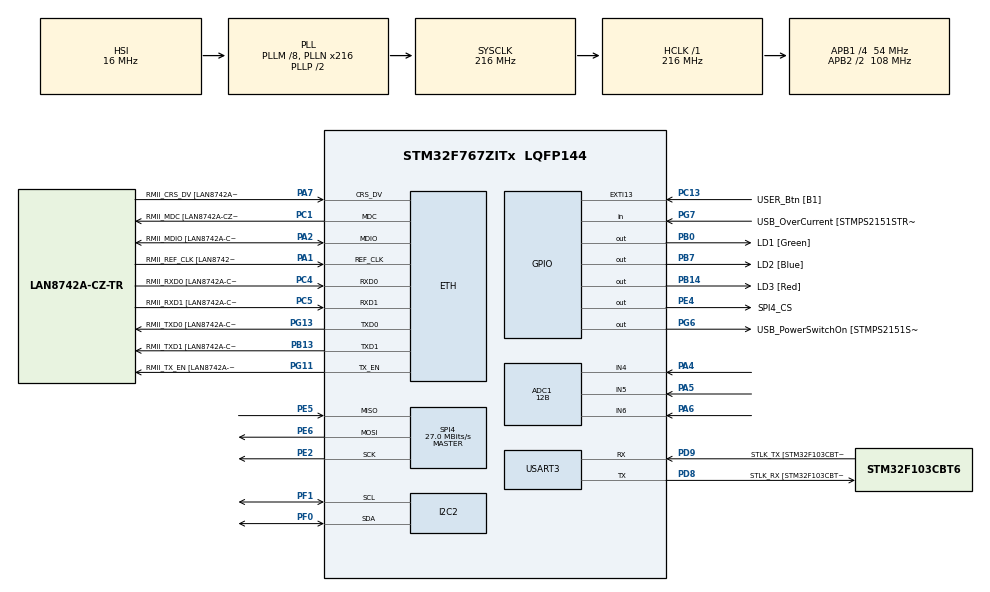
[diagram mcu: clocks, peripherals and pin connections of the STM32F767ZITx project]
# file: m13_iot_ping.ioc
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ADC1.Channel-0\#ChannelRegularConversion=ADC_CHANNEL_4
ADC1.Channel-1\#ChannelRegularConversion=ADC_CHANNEL_5
ADC1.Channel-2\#ChannelRegularConversion=ADC_CHANNEL_6
ADC1.ClockPrescaler=ADC_CLOCK_SYNC_PCLK_DIV6
ADC1.DMAContinuousRequests=ENABLE
ADC1.EOCSelection=ADC_EOC_SEQ_CONV
ADC1.ExternalTrigConv=ADC_EXTERNALTRIGCONV_T2_TRGO
ADC1.NbrOfConversion=3
ADC1.NbrOfConversionFlag=1
ADC1.Rank-0\#ChannelRegularConversion=1
ADC1.Rank-1\#ChannelRegularConversion=2
ADC1.Rank-2\#ChannelRegularConversion=3
ADC1.Resolution=ADC_RESOLUTION_12B
ADC1.SamplingTime-0\#ChannelRegularConversion=ADC_SAMPLETIME_3CYCLES
ADC1.SamplingTime-1\#ChannelRegularConversion=ADC_SAMPLETIME_3CYCLES
ADC1.SamplingTime-2\#ChannelRegularConversion=ADC_SAMPLETIME_3CYCLES
ADC1.ScanConvMode=ADC_SCAN_ENABLE
ADC1.master=1
CORTEX_M7.CPU_DCache=Disabled
CORTEX_M7.CPU_ICache=Disabled
CORTEX_M7.Enable-Cortex_Memory_Protection_Unit_Region0_Settings=__NULL
CORTEX_M7.Enable-Cortex_Memory_Protection_Unit_Region1_Settings=__NULL
CORTEX_M7.MPU_Control=__NULL
CORTEX_M7.PREFETCH_ENABLE=0
Dma.ADC1.0.Direction=DMA_PERIPH_TO_MEMORY
Dma.ADC1.0.FIFOMode=DMA_FIFOMODE_DISABLE
Dma.ADC1.0.Instance=DMA2_Stream0
Dma.ADC1.0.MemDataAlignment=DMA_MDATAALIGN_HALFWORD
Dma.ADC1.0.MemInc=DMA_MINC_ENABLE
Dma.ADC1.0.Mode=DMA_CIRCULAR
Dma.ADC1.0.PeriphDataAlignment=DMA_PDATAALIGN_HALFWORD
Dma.ADC1.0.PeriphInc=DMA_PINC_DISABLE
Dma.ADC1.0.Priority=DMA_PRIORITY_MEDIUM
Dma.Request0=ADC1
ETH.MACAddr=00\:80\:E1\:00\:00\:85
ETH.MediaInterface=HAL_ETH_RMII_MODE
FREERTOS.BinarySemaphores01=AdcEndOfConversion,Dynamic,NULL,Depleted;NewValToProcess,Dynamic,NULL,Available
FREERTOS.Mutexes01=uartMutex,Dynamic,NULL,Available;SPI4Mutex,Dynamic,NULL,Available;I2C2Mutex,Dynamic,NULL,Available
FREERTOS.Queues01=messageQueue,512,uint32_t,0,Dynamic,NULL,NULL
FREERTOS.Tasks01=defaultTask,-3,1024,StartDefaultTask,Default,NULL,Dynamic,NULL,NULL;logMessageTask,0,2048,LogMessageTask,Default,NULL,Dynamic,NULL,NULL;TCPClientTask,0,2048,TCP_ClientTask,Default,NULL,Dynamic,NULL,NULL;TCPServerTask,0,1024,TCP_ServerTask,Default,NULL,Dynamic,NULL,NULL;heartBeatTask,-1,1024,StartHeartBeatTask,Default,NULL,Dynamic,NULL,NULL;AccelerometerTask,0,2048,vAccelerometerTask,Default,NULL,Dynamic,NULL,NULL;PublishtoBroadcastTask,1,4096,PublishToBroadcastTask,Default,NULL,Dynamic,NULL,NULL;UDPServerTask,0,2048,UDP_ServerTask,Default,NULL,Dynamic,NULL,NULL;MainTask,0,1024,vMainTask,Default,NULL,Dynamic,NULL,NULL
FREERTOS.configMAX_TASK_NAME_LEN=32
FREERTOS.configMINIMAL_STACK_SIZE=1024
FREERTOS.configTOTAL_HEAP_SIZE=380000
FREERTOS.configUSE_NEWLIB_REENTRANT=1
FREERTOS.configUSE_TIMERS=0
I2C2.Analog_Filter=I2C_ANALOGFILTER_ENABLE
I2C2.Timing=0x20404768
LWIP.BSP.number=1
LWIP.GATEWAY_ADDRESS=192.168.001.001
LWIP.IP_ADDRESS=192.168.001.185
LWIP.IP_FORWARD_ALLOW_TX_ON_RX_NETIF=1
LWIP.IP_SOF_BROADCAST=1
LWIP.IP_SOF_BROADCAST_RECV=0
LWIP.LWIP_BROADCAST_PING=1
LWIP.LWIP_DHCP=0
LWIP.LWIP_DNS=1
LWIP.LWIP_ICMP=1
LWIP.LWIP_RAW=0
LWIP.LWIP_SINGLE_NETIF=0
LWIP.LWIP_SO_RCVTIMEO=1
LWIP.LWIP_SO_SNDTIMEO=0
LWIP.LWIP_TCPIP_CORE_LOCKING=0
LWIP.MEMP_NUM_TCP_PCB=8
LWIP.MEMP_NUM_UDP_PCB=8
LWIP.MEM_SIZE=49152
LWIP.NETMASK_ADDRESS=255.255.255.000
LWIP.Version=v2.1.2_Cube
LWIP0.BSP.STBoard=false
LWIP0.BSP.api=BSP_COMPONENT_DRIVER
LWIP0.BSP.component=LAN8742
LWIP0.BSP.instance=LAN8742
LWIP0.BSP.name=Driver_PHY
LWIP0.BSP.semaphore=S_LAN8742
LWIP0.BSP.solution=LAN8742
Mcu.Family=STM32F7
Mcu.Name=STM32F767ZITx
Mcu.Package=LQFP144
NVIC.ADC_IRQn=true\:5\:0\:false\:false\:true\:true\:true\:true\:true
NVIC.DMA2_Stream0_IRQn=true\:5\:0\:false\:false\:true\:true\:false\:true\:true
NVIC.ETH_IRQn=true\:5\:0\:false\:false\:true\:true\:false\:true\:true
NVIC.PriorityGroup=NVIC_PRIORITYGROUP_4
NVIC.TIM1_UP_TIM10_IRQn=true\:15\:0\:false\:false\:true\:false\:false\:true\:true
NVIC.TimeBase=TIM1_UP_TIM10_IRQn
NVIC.TimeBaseIP=TIM1
PA1.GPIO_Label=RMII_REF_CLK [LAN8742A-CZ-TR_REFCLK0]
PA1.Mode=RMII
PA1.Signal=ETH_REF_CLK
PA10.GPIO_Label=USB_ID
PA10.Signal=USB_OTG_FS_ID
PA11.GPIO_Label=USB_DM
PA11.Signal=USB_OTG_FS_DM
PA12.GPIO_Label=USB_DP
PA12.Signal=USB_OTG_FS_DP
PA13.GPIO_Label=TMS
PA13.Signal=SYS_JTMS-SWDIO
PA14.GPIO_Label=TCK
PA14.Signal=SYS_JTCK-SWCLK
PA2.GPIO_Label=RMII_MDIO [LAN8742A-CZ-TR_MDIO]
PA2.Mode=RMII
PA2.Signal=ETH_MDIO
PA4.Signal=ADCx_IN4
PA5.Signal=ADCx_IN5
PA6.Signal=ADCx_IN6
PA7.GPIO_Label=RMII_CRS_DV [LAN8742A-CZ-TR_CRS_DV]
PA7.Mode=RMII
PA7.Signal=ETH_CRS_DV
PA8.GPIO_Label=USB_SOF [TP1]
PA8.Signal=USB_OTG_FS_SOF
PA9.GPIO_Label=USB_VBUS
PA9.Signal=USB_OTG_FS_VBUS
PB0.GPIO_Label=LD1 [Green]
PB0.Signal=GPIO_Output
PB13.GPIO_Label=RMII_TXD1 [LAN8742A-CZ-TR_TXD1]
PB13.Mode=RMII
PB13.Signal=ETH_TXD1
PB14.GPIO_Label=LD3 [Red]
PB14.Signal=GPIO_Output
PB3.GPIO_Label=SW0
PB3.Signal=SYS_JTDO-SWO
PB7.GPIO_Label=LD2 [Blue]
PB7.Signal=GPIO_Output
PC1.GPIO_Label=RMII_MDC [LAN8742A-CZ-TR_MDC]
PC1.Mode=RMII
PC1.Signal=ETH_MDC
PC13.GPIO_Label=USER_Btn [B1]
PC13.Signal=GPXTI13
PC14/OSC32_IN.Signal=RCC_OSC32_IN
PC15/OSC32_OUT.Signal=RCC_OSC32_OUT
PC4.GPIO_Label=RMII_RXD0 [LAN8742A-CZ-TR_RXD0]
PC4.Mode=RMII
PC4.Signal=ETH_RXD0
PC5.GPIO_Label=RMII_RXD1 [LAN8742A-CZ-TR_RXD1]
PC5.Mode=RMII
PC5.Signal=ETH_RXD1
PD8.GPIO_Label=STLK_RX [STM32F103CBT6_PA3]
PD8.Mode=Asynchronous
PD8.Signal=USART3_TX
PD9.GPIO_Label=STLK_TX [STM32F103CBT6_PA2]
PD9.Mode=Asynchronous
PD9.Signal=USART3_RX
PE2.Mode=Full_Duplex_Master
PE2.Signal=SPI4_SCK
PE4.GPIO_Label=SPI4_CS
PE4.Signal=GPIO_Output
PE5.Mode=Full_Duplex_Master
PE5.Signal=SPI4_MISO
PE6.Mode=Full_Duplex_Master
PE6.Signal=SPI4_MOSI
PF0.Mode=I2C
PF0.Signal=I2C2_SDA
PF1.Mode=I2C
PF1.Signal=I2C2_SCL
PG11.GPIO_Label=RMII_TX_EN [LAN8742A-CZ-TR_TXEN]
PG11.Mode=RMII
PG11.Signal=ETH_TX_EN
PG13.GPIO_Label=RMII_TXD0 [LAN8742A-CZ-TR_TXD0]
PG13.Mode=RMII
PG13.Signal=ETH_TXD0
PG6.GPIO_Label=USB_PowerSwitchOn [STMPS2151STR_EN]
PG6.Signal=GPIO_Output
PG7.GPIO_Label=USB_OverCurrent [STMPS2151STR_FAULT]
PG7.Signal=GPIO_Input
PH0/OSC_IN.GPIO_Label=MCO [STM32F103CBT6_PA8]
PH0/OSC_IN.Mode=HSE-External-Oscillator
PH0/OSC_IN.Signal=RCC_OSC_IN
PH1/OSC_OUT.Mode=HSE-External-Oscillator
PH1/OSC_OUT.Signal=RCC_OSC_OUT
ProjectManager.HeapSize=0x200
ProjectManager.StackSize=0x400
ProjectManager.TargetToolchain=STM32CubeIDE
RCC.48MHZClocksFreq_Value=24000000
RCC.AHBFreq_Value=216000000
RCC.APB1CLKDivider=RCC_HCLK_DIV4
RCC.APB1Freq_Value=54000000
RCC.APB1TimFreq_Value=108000000
RCC.APB2CLKDivider=RCC_HCLK_DIV2
RCC.APB2Freq_Value=108000000
RCC.APB2TimFreq_Value=216000000
RCC.CortexFreq_Value=216000000
RCC.HCLKFreq_Value=216000000
RCC.HSE_VALUE=25000000
RCC.HSI_VALUE=16000000
RCC.LSE_VALUE=32768
RCC.PLLM=8
RCC.PLLMUL=RCC_PLL_MUL9
RCC.PLLN=216
RCC.PRESCALERUSB=RCC_USBCLKSOURCE_PLL_DIV1_5
RCC.SYSCLKFreq_VALUE=216000000
RCC.SYSCLKSource=RCC_SYSCLKSOURCE_PLLCLK
RCC.SYSCLKSourceVirtual=RCC_SYSCLKSOURCE_PLLCLK
RCC.USART3CLockSelection=RCC_USART3CLKSOURCE_HSI
RCC.USBFreq_Value=216000000
RCC.VCOOutputFreq_Value=432000000
SH.ADCx_IN4.0=ADC1_IN4,IN4
SH.ADCx_IN5.0=ADC1_IN5,IN5
SH.ADCx_IN6.0=ADC1_IN6,IN6
SPI4.BaudRatePrescaler=SPI_BAUDRATEPRESCALER_4
SPI4.CalculateBaudRate=27.0 MBits/s
SPI4.DataSize=SPI_DATASIZE_8BIT
SPI4.Direction=SPI_DIRECTION_2LINES
SPI4.Mode=SPI_MODE_MASTER
SPI4.NSSPMode=SPI_NSS_PULSE_DISABLE
SPI4.VirtualType=VM_MASTER
TIM2.Period=10000-1
TIM2.Prescaler=108-1
TIM2.TIM_MasterOutputTrigger=TIM_TRGO_UPDATE
USART3.VirtualMode-Asynchronous=VM_ASYNC
VP_FREERTOS_VS_CMSIS_V1.Mode=CMSIS_V1
VP_LWIP_VS_Enabled.Mode=Enabled
VP_RTC_VS_RTC_Activate.Mode=RTC_Enabled
VP_RTC_VS_RTC_Calendar.Mode=RTC_Calendar
VP_SYS_VS_tim1.Mode=TIM1
VP_TIM2_VS_ClockSourceINT.Mode=Internal
board=NUCLEO-F767ZI

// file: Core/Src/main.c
/* USER CODE BEGIN Header */
/**
  ******************************************************************************
  * @file           : main.c
  * @brief          : Main program body
  ******************************************************************************
  * @attention
  *
  * Copyright (c) 2025 STMicroelectronics.
  * All rights reserved.
  *
  * This software is licensed under terms that can be found in the LICENSE file
  * in the root directory of this software component.
  * If no LICENSE file comes with this software, it is provided AS-IS.
  ***
  *******************************************************************************
  */
/* USER CODE END Header */
#include "main.h"
#include "cmsis_os.h"
#include "lwip.h"

/* USER CODE BEGIN Includes */
#include <stdarg.h>
#include <stdio.h>
#include <string.h>
#include <ctype.h>
#include <stdint.h>

// Inlcudes for LWIP
#include "lwip/udp.h"
#include "lwip/ip_addr.h"
#include "lwip/api.h"
#include <time.h>

// Own .h file
#include "processing.h"
#include "communication.h"
#include "os_resources.h"	// Use for mutex to not let every file who use main.h to have access to the rtos lib

// Additional includes
#include <math.h>

/* USER CODE END Includes */

/* USER CODE BEGIN PD */

// For TCP & UDP
#define PORT	1234
#define Max_IP	30

// For NTP
// #define NTP_SERVER_IP 		 "129.6.15.28"
#define NTP_SERVER_IP        "216.239.35.0"
#define NTP_PORT             123
#define NTP_PACKET_LEN       48
#define NTP_TIMESTAMP_DELTA  2208988800UL

/* USER CODE END PD */

ADC_HandleTypeDef hadc1;
DMA_HandleTypeDef hdma_adc1;

I2C_HandleTypeDef hi2c2;

RTC_HandleTypeDef hrtc;

SPI_HandleTypeDef hspi4;

TIM_HandleTypeDef htim2;

UART_HandleTypeDef huart3;

osThreadId defaultTaskHandle;
osThreadId logMessageTaskHandle;
osThreadId TCPClientTaskHandle;
osThreadId TCPServerTaskHandle;
osThreadId heartBeatTaskHandle;
osThreadId AccelerometerTaskHandle;
osThreadId PublishtoBroadcastTaskHandle;
osThreadId UDPServerTaskHandle;
osThreadId MainTaskHandle;
osMessageQId messageQueueHandle;
osMutexId uartMutexHandle;
osMutexId SPI4MutexHandle;
osMutexId I2C2MutexHandle;
osSemaphoreId AdcEndOfConversionHandle;
osSemaphoreId NewValToProcessHandle;
/* USER CODE BEGIN PV */

/* FreeRTOS private variables */

/*	Private global variables */

// ADC variables

// For UDP
const char *device_id = "nucleo-14";
const char *my_ip = "192.168.1.185";

// For NTP
struct udp_pcb *ntp_pcb;
uint8_t ntp_packet[NTP_PACKET_LEN];
volatile uint8_t is_synced = 0;

// All banks
ip_addr_t IP_Bank[Max_IP] = {0};		// Max_IP set in defines

// To read RTC for many sender
uint8_t seconds, minutes, hours, day, date, month, years;

// To store de RMS result
LocalValue_t LastProcessedValue;		// Dernière valeur issue de l'ADC
LocalValue_t MaxLocalValues[10]={0};	// Tableau des plus grandes valeurs

// To store the last value set as a shake
LocalValue_t HighestRecentValue;

// For processing
uint8_t NewValToProcess = 0;
uint8_t FirstTime = 1;

/* USER CODE END PV */

void SystemClock_Config(void);
static void MX_GPIO_Init(void);
static void MX_DMA_Init(void);
static void MX_USART3_UART_Init(void);
static void MX_RTC_Init(void);
static void MX_ADC1_Init(void);
static void MX_I2C2_Init(void);
static void MX_SPI4_Init(void);
static void MX_TIM2_Init(void);
void StartDefaultTask(void const * argument);
void LogMessageTask(void const * argument);
void TCP_ClientTask(void const * argument);
void TCP_ServerTask(void const * argument);
void StartHeartBeatTask(void const * argument);
void vAccelerometerTask(void const * argument);
void PublishToBroadcastTask(void const * argument);
void UDP_ServerTask(void const * argument);
void vMainTask(void const * argument);

/* USER CODE BEGIN PFP */

// For NTP
void ntp_send_request(void);
void ntp_receive(void *arg, struct udp_pcb *pcb, struct pbuf *p, const ip_addr_t *addr, u16_t port);

/* USER CODE END PFP */

int main(void)
{

  /* MCU Configuration--------------------------------------------------------*/

  /* Reset of all peripherals, Initializes the Flash interface and the Systick. */
  HAL_Init();

  /* Configure the system clock */
  SystemClock_Config();

  /* Initialize all configured peripherals */
  MX_GPIO_Init();
  MX_DMA_Init();
  MX_USART3_UART_Init();
  MX_RTC_Init();
  MX_ADC1_Init();
  MX_I2C2_Init();
  MX_SPI4_Init();
  MX_TIM2_Init();

  /* Create the mutex(es) */
  /* definition and creation of uartMutex */
  osMutexDef(uartMutex);
  uartMutexHandle = osMutexCreate(osMutex(uartMutex));

  /* definition and creation of SPI4Mutex */
  osMutexDef(SPI4Mutex);
  SPI4MutexHandle = osMutexCreate(osMutex(SPI4Mutex));

  /* definition and creation of I2C2Mutex */
  osMutexDef(I2C2Mutex);
  I2C2MutexHandle = osMutexCreate(osMutex(I2C2Mutex));

  /* Create the semaphores(s) */
  /* definition and creation of AdcEndOfConversion */
  osSemaphoreDef(AdcEndOfConversion);
  AdcEndOfConversionHandle = osSemaphoreCreate(osSemaphore(AdcEndOfConversion), 1);

  /* definition and creation of NewValToProcess */
  osSemaphoreDef(NewValToProcess);
  NewValToProcessHandle = osSemaphoreCreate(osSemaphore(NewValToProcess), 1);

  /* Create the queue(s) */
  /* definition and creation of messageQueue */
  osMessageQDef(messageQueue, 512, uint32_t);
  messageQueueHandle = osMessageCreate(osMessageQ(messageQueue), NULL);

  /* Create the thread(s) */
  /* definition and creation of defaultTask */
  osThreadDef(defaultTask, StartDefaultTask, osPriorityIdle, 0, 1024);
  defaultTaskHandle = osThreadCreate(osThread(defaultTask), NULL);

  /* definition and creation of logMessageTask */
  osThreadDef(logMessageTask, LogMessageTask, osPriorityNormal, 0, 2048);
  logMessageTaskHandle = osThreadCreate(osThread(logMessageTask), NULL);

  /* definition and creation of TCPClientTask */
  osThreadDef(TCPClientTask, TCP_ClientTask, osPriorityNormal, 0, 2048);
  TCPClientTaskHandle = osThreadCreate(osThread(TCPClientTask), NULL);

  /* definition and creation of TCPServerTask */
  osThreadDef(TCPServerTask, TCP_ServerTask, osPriorityNormal, 0, 1024);
  TCPServerTaskHandle = osThreadCreate(osThread(TCPServerTask), NULL);

  /* definition and creation of heartBeatTask */
  osThreadDef(heartBeatTask, StartHeartBeatTask, osPriorityBelowNormal, 0, 1024);
  heartBeatTaskHandle = osThreadCreate(osThread(heartBeatTask), NULL);

  /* definition and creation of AccelerometerTask */
  osThreadDef(AccelerometerTask, vAccelerometerTask, osPriorityNormal, 0, 2048);
  AccelerometerTaskHandle = osThreadCreate(osThread(AccelerometerTask), NULL);

  /* definition and creation of PublishtoBroadcastTask */
  osThreadDef(PublishtoBroadcastTask, PublishToBroadcastTask, osPriorityAboveNormal, 0, 4096);
  PublishtoBroadcastTaskHandle = osThreadCreate(osThread(PublishtoBroadcastTask), NULL);

  /* definition and creation of UDPServerTask */
  osThreadDef(UDPServerTask, UDP_ServerTask, osPriorityNormal, 0, 2048);
  UDPServerTaskHandle = osThreadCreate(osThread(UDPServerTask), NULL);

  /* definition and creation of MainTask */
  osThreadDef(MainTask, vMainTask, osPriorityNormal, 0, 1024);
  MainTaskHandle = osThreadCreate(osThread(MainTask), NULL);

  /* USER CODE BEGIN RTOS_THREADS */

  osThreadSuspend(logMessageTaskHandle);
  osThreadSuspend(TCPClientTaskHandle);
  osThreadSuspend(TCPServerTaskHandle);
  osThreadSuspend(heartBeatTaskHandle);
  osThreadSuspend(AccelerometerTaskHandle);
  osThreadSuspend(PublishtoBroadcastTaskHandle);
  osThreadSuspend(UDPServerTaskHandle);
  osThreadSuspend(MainTaskHandle);

  /* USER CODE END RTOS_THREADS */

  /* Start scheduler */
  osKernelStart();

  /* We should never get here as control is now taken by the scheduler */

  /* Infinite loop */
  while (1)
  {

  }
}

void SystemClock_Config(void)
{
  RCC_OscInitTypeDef RCC_OscInitStruct = {0};
  RCC_ClkInitTypeDef RCC_ClkInitStruct = {0};

  /** Configure the main internal regulator output voltage
  */
  __HAL_RCC_PWR_CLK_ENABLE();
  __HAL_PWR_VOLTAGESCALING_CONFIG(PWR_REGULATOR_VOLTAGE_SCALE1);

  /** Initializes the RCC Oscillators according to the specified parameters
  * in the RCC_OscInitTypeDef structure.
  */
  RCC_OscInitStruct.OscillatorType = RCC_OSCILLATORTYPE_HSI|RCC_OSCILLATORTYPE_LSI;
  RCC_OscInitStruct.HSIState = RCC_HSI_ON;
  RCC_OscInitStruct.HSICalibrationValue = RCC_HSICALIBRATION_DEFAULT;
  RCC_OscInitStruct.LSIState = RCC_LSI_ON;
  RCC_OscInitStruct.PLL.PLLState = RCC_PLL_ON;
  RCC_OscInitStruct.PLL.PLLSource = RCC_PLLSOURCE_HSI;
  RCC_OscInitStruct.PLL.PLLM = 8;
  RCC_OscInitStruct.PLL.PLLN = 216;
  RCC_OscInitStruct.PLL.PLLP = RCC_PLLP_DIV2;
  RCC_OscInitStruct.PLL.PLLQ = 2;
  RCC_OscInitStruct.PLL.PLLR = 2;
  if (HAL_RCC_OscConfig(&RCC_OscInitStruct) != HAL_OK)
  {
    Error_Handler();
  }

  /** Activate the Over-Drive mode
  */
  if (HAL_PWREx_EnableOverDrive() != HAL_OK)
  {
    Error_Handler();
  }

  /** Initializes the CPU, AHB and APB buses clocks
  */
  RCC_ClkInitStruct.ClockType = RCC_CLOCKTYPE_HCLK|RCC_CLOCKTYPE_SYSCLK
                              |RCC_CLOCKTYPE_PCLK1|RCC_CLOCKTYPE_PCLK2;
  RCC_ClkInitStruct.SYSCLKSource = RCC_SYSCLKSOURCE_PLLCLK;
  RCC_ClkInitStruct.AHBCLKDivider = RCC_SYSCLK_DIV1;
  RCC_ClkInitStruct.APB1CLKDivider = RCC_HCLK_DIV4;
  RCC_ClkInitStruct.APB2CLKDivider = RCC_HCLK_DIV2;

  if (HAL_RCC_ClockConfig(&RCC_ClkInitStruct, FLASH_LATENCY_7) != HAL_OK)
  {
    Error_Handler();
  }
}

static void MX_ADC1_Init(void)
{

  ADC_ChannelConfTypeDef sConfig = {0};

  /** Configure the global features of the ADC (Clock, Resolution, Data Alignment and number of conversion)
  */
  hadc1.Instance = ADC1;
  hadc1.Init.ClockPrescaler = ADC_CLOCK_SYNC_PCLK_DIV6;
  hadc1.Init.Resolution = ADC_RESOLUTION_12B;
  hadc1.Init.ScanConvMode = ADC_SCAN_ENABLE;
  hadc1.Init.ContinuousConvMode = DISABLE;
  hadc1.Init.DiscontinuousConvMode = DISABLE;
  hadc1.Init.ExternalTrigConvEdge = ADC_EXTERNALTRIGCONVEDGE_RISING;
  hadc1.Init.ExternalTrigConv = ADC_EXTERNALTRIGCONV_T2_TRGO;
  hadc1.Init.DataAlign = ADC_DATAALIGN_RIGHT;
  hadc1.Init.NbrOfConversion = 3;
  hadc1.Init.DMAContinuousRequests = ENABLE;
  hadc1.Init.EOCSelection = ADC_EOC_SEQ_CONV;
  if (HAL_ADC_Init(&hadc1) != HAL_OK)
  {
    Error_Handler();
  }

  /** Configure for the selected ADC regular channel its corresponding rank in the sequencer and its sample time.
  */
  sConfig.Channel = ADC_CHANNEL_4;
  sConfig.Rank = ADC_REGULAR_RANK_1;
  sConfig.SamplingTime = ADC_SAMPLETIME_3CYCLES;
  if (HAL_ADC_ConfigChannel(&hadc1, &sConfig) != HAL_OK)
  {
    Error_Handler();
  }

  /** Configure for the selected ADC regular channel its corresponding rank in the sequencer and its sample time.
  */
  sConfig.Channel = ADC_CHANNEL_5;
  sConfig.Rank = ADC_REGULAR_RANK_2;
  if (HAL_ADC_ConfigChannel(&hadc1, &sConfig) != HAL_OK)
  {
    Error_Handler();
  }

  /** Configure for the selected ADC regular channel its corresponding rank in the sequencer and its sample time.
  */
  sConfig.Channel = ADC_CHANNEL_6;
  sConfig.Rank = ADC_REGULAR_RANK_3;
  if (HAL_ADC_ConfigChannel(&hadc1, &sConfig) != HAL_OK)
  {
    Error_Handler();
  }

}

static void MX_I2C2_Init(void)
{

  hi2c2.Instance = I2C2;
  hi2c2.Init.Timing = 0x20404768;
  hi2c2.Init.OwnAddress1 = 0;
  hi2c2.Init.AddressingMode = I2C_ADDRESSINGMODE_7BIT;
  hi2c2.Init.DualAddressMode = I2C_DUALADDRESS_DISABLE;
  hi2c2.Init.OwnAddress2 = 0;
  hi2c2.Init.OwnAddress2Masks = I2C_OA2_NOMASK;
  hi2c2.Init.GeneralCallMode = I2C_GENERALCALL_DISABLE;
  hi2c2.Init.NoStretchMode = I2C_NOSTRETCH_DISABLE;
  if (HAL_I2C_Init(&hi2c2) != HAL_OK)
  {
    Error_Handler();
  }

  /** Configure Analogue filter
  */
  if (HAL_I2CEx_ConfigAnalogFilter(&hi2c2, I2C_ANALOGFILTER_ENABLE) != HAL_OK)
  {
    Error_Handler();
  }

  /** Configure Digital filter
  */
  if (HAL_I2CEx_ConfigDigitalFilter(&hi2c2, 0) != HAL_OK)
  {
    Error_Handler();
  }

}

static void MX_RTC_Init(void)
{

  RTC_TimeTypeDef sTime = {0};
  RTC_DateTypeDef sDate = {0};

  /** Initialize RTC Only
  */
  hrtc.Instance = RTC;
  hrtc.Init.HourFormat = RTC_HOURFORMAT_24;
  hrtc.Init.AsynchPrediv = 127;
  hrtc.Init.SynchPrediv = 255;
  hrtc.Init.OutPut = RTC_OUTPUT_DISABLE;
  hrtc.Init.OutPutPolarity = RTC_OUTPUT_POLARITY_HIGH;
  hrtc.Init.OutPutType = RTC_OUTPUT_TYPE_OPENDRAIN;
  if (HAL_RTC_Init(&hrtc) != HAL_OK)
  {
    Error_Handler();
  }

  /** Initialize RTC and set the Time and Date
  */
  sTime.Hours = 0x0;
  sTime.Minutes = 0x0;
  sTime.Seconds = 0x0;
  sTime.DayLightSaving = RTC_DAYLIGHTSAVING_NONE;
  sTime.StoreOperation = RTC_STOREOPERATION_RESET;
  if (HAL_RTC_SetTime(&hrtc, &sTime, RTC_FORMAT_BCD) != HAL_OK)
  {
    Error_Handler();
  }
  sDate.WeekDay = RTC_WEEKDAY_MONDAY;
  sDate.Month = RTC_MONTH_JANUARY;
  sDate.Date = 0x1;
  sDate.Year = 0x0;

  if (HAL_RTC_SetDate(&hrtc, &sDate, RTC_FORMAT_BCD) != HAL_OK)
  {
    Error_Handler();
  }

}

static void MX_SPI4_Init(void)
{

  /* SPI4 parameter configuration*/
  hspi4.Instance = SPI4;
  hspi4.Init.Mode = SPI_MODE_MASTER;
  hspi4.Init.Direction = SPI_DIRECTION_2LINES;
  hspi4.Init.DataSize = SPI_DATASIZE_8BIT;
  hspi4.Init.CLKPolarity = SPI_POLARITY_LOW;
  hspi4.Init.CLKPhase = SPI_PHASE_1EDGE;
  hspi4.Init.NSS = SPI_NSS_SOFT;
  hspi4.Init.BaudRatePrescaler = SPI_BAUDRATEPRESCALER_4;
  hspi4.Init.FirstBit = SPI_FIRSTBIT_MSB;
  hspi4.Init.TIMode = SPI_TIMODE_DISABLE;
  hspi4.Init.CRCCalculation = SPI_CRCCALCULATION_DISABLE;
  hspi4.Init.CRCPolynomial = 7;
  hspi4.Init.CRCLength = SPI_CRC_LENGTH_DATASIZE;
  hspi4.Init.NSSPMode = SPI_NSS_PULSE_DISABLE;
  if (HAL_SPI_Init(&hspi4) != HAL_OK)
  {
    Error_Handler();
  }

}

static void MX_TIM2_Init(void)
{

  TIM_ClockConfigTypeDef sClockSourceConfig = {0};
  TIM_MasterConfigTypeDef sMasterConfig = {0};

  htim2.Instance = TIM2;
  htim2.Init.Prescaler = 108-1;
  htim2.Init.CounterMode = TIM_COUNTERMODE_UP;
  htim2.Init.Period = 10000-1;
  htim2.Init.ClockDivision = TIM_CLOCKDIVISION_DIV1;
  htim2.Init.AutoReloadPreload = TIM_AUTORELOAD_PRELOAD_DISABLE;
  if (HAL_TIM_Base_Init(&htim2) != HAL_OK)
  {
    Error_Handler();
  }
  sClockSourceConfig.ClockSource = TIM_CLOCKSOURCE_INTERNAL;
  if (HAL_TIM_ConfigClockSource(&htim2, &sClockSourceConfig) != HAL_OK)
  {
    Error_Handler();
  }
  sMasterConfig.MasterOutputTrigger = TIM_TRGO_UPDATE;
  sMasterConfig.MasterSlaveMode = TIM_MASTERSLAVEMODE_DISABLE;
  if (HAL_TIMEx_MasterConfigSynchronization(&htim2, &sMasterConfig) != HAL_OK)
  {
    Error_Handler();
  }

}

static void MX_USART3_UART_Init(void)
{

  huart3.Instance = USART3;
  huart3.Init.BaudRate = 115200;
  huart3.Init.WordLength = UART_WORDLENGTH_8B;
  huart3.Init.StopBits = UART_STOPBITS_1;
  huart3.Init.Parity = UART_PARITY_NONE;
  huart3.Init.Mode = UART_MODE_TX_RX;
  huart3.Init.HwFlowCtl = UART_HWCONTROL_NONE;
  huart3.Init.OverSampling = UART_OVERSAMPLING_16;
  huart3.Init.OneBitSampling = UART_ONE_BIT_SAMPLE_DISABLE;
  huart3.AdvancedInit.AdvFeatureInit = UART_ADVFEATURE_NO_INIT;
  if (HAL_UART_Init(&huart3) != HAL_OK)
  {
    Error_Handler();
  }

}

static void MX_DMA_Init(void)
{

  /* DMA controller clock enable */
  __HAL_RCC_DMA2_CLK_ENABLE();

  /* DMA interrupt init */
  /* DMA2_Stream0_IRQn interrupt configuration */
  HAL_NVIC_SetPriority(DMA2_Stream0_IRQn, 5, 0);
  HAL_NVIC_EnableIRQ(DMA2_Stream0_IRQn);

}

static void MX_GPIO_Init(void)
{
  GPIO_InitTypeDef GPIO_InitStruct = {0};

  /* GPIO Ports Clock Enable */
  __HAL_RCC_GPIOE_CLK_ENABLE();
  __HAL_RCC_GPIOC_CLK_ENABLE();
  __HAL_RCC_GPIOF_CLK_ENABLE();
  __HAL_RCC_GPIOH_CLK_ENABLE();
  __HAL_RCC_GPIOA_CLK_ENABLE();
  __HAL_RCC_GPIOB_CLK_ENABLE();
  __HAL_RCC_GPIOD_CLK_ENABLE();
  __HAL_RCC_GPIOG_CLK_ENABLE();

  /*Configure GPIO pin Output Level */
  HAL_GPIO_WritePin(SPI4_CS_GPIO_Port, SPI4_CS_Pin, GPIO_PIN_RESET);

  /*Configure GPIO pin Output Level */
  HAL_GPIO_WritePin(GPIOB, LD1_Pin|LD3_Pin|LD2_Pin, GPIO_PIN_RESET);

  /*Configure GPIO pin Output Level */
  HAL_GPIO_WritePin(USB_PowerSwitchOn_GPIO_Port, USB_PowerSwitchOn_Pin, GPIO_PIN_RESET);

  /*Configure GPIO pin : SPI4_CS_Pin */
  GPIO_InitStruct.Pin = SPI4_CS_Pin;
  GPIO_InitStruct.Mode = GPIO_MODE_OUTPUT_PP;
  GPIO_InitStruct.Pull = GPIO_NOPULL;
  GPIO_InitStruct.Speed = GPIO_SPEED_FREQ_LOW;
  HAL_GPIO_Init(SPI4_CS_GPIO_Port, &GPIO_InitStruct);

  /*Configure GPIO pin : USER_Btn_Pin */
  GPIO_InitStruct.Pin = USER_Btn_Pin;
  GPIO_InitStruct.Mode = GPIO_MODE_IT_RISING;
  GPIO_InitStruct.Pull = GPIO_NOPULL;
  HAL_GPIO_Init(USER_Btn_GPIO_Port, &GPIO_InitStruct);

  /*Configure GPIO pins : LD1_Pin LD3_Pin LD2_Pin */
  GPIO_InitStruct.Pin = LD1_Pin|LD3_Pin|LD2_Pin;
  GPIO_InitStruct.Mode = GPIO_MODE_OUTPUT_PP;
  GPIO_InitStruct.Pull = GPIO_NOPULL;
  GPIO_InitStruct.Speed = GPIO_SPEED_FREQ_LOW;
  HAL_GPIO_Init(GPIOB, &GPIO_InitStruct);

  /*Configure GPIO pin : USB_PowerSwitchOn_Pin */
  GPIO_InitStruct.Pin = USB_PowerSwitchOn_Pin;
  GPIO_InitStruct.Mode = GPIO_MODE_OUTPUT_PP;
  GPIO_InitStruct.Pull = GPIO_NOPULL;
  GPIO_InitStruct.Speed = GPIO_SPEED_FREQ_LOW;
  HAL_GPIO_Init(USB_PowerSwitchOn_GPIO_Port, &GPIO_InitStruct);

  /*Configure GPIO pin : USB_OverCurrent_Pin */
  GPIO_InitStruct.Pin = USB_OverCurrent_Pin;
  GPIO_InitStruct.Mode = GPIO_MODE_INPUT;
  GPIO_InitStruct.Pull = GPIO_NOPULL;
  HAL_GPIO_Init(USB_OverCurrent_GPIO_Port, &GPIO_InitStruct);

  /*Configure GPIO pins : USB_SOF_Pin USB_ID_Pin USB_DM_Pin USB_DP_Pin */
  GPIO_InitStruct.Pin = USB_SOF_Pin|USB_ID_Pin|USB_DM_Pin|USB_DP_Pin;
  GPIO_InitStruct.Mode = GPIO_MODE_AF_PP;
  GPIO_InitStruct.Pull = GPIO_NOPULL;
  GPIO_InitStruct.Speed = GPIO_SPEED_FREQ_VERY_HIGH;
  GPIO_InitStruct.Alternate = GPIO_AF10_OTG_FS;
  HAL_GPIO_Init(GPIOA, &GPIO_InitStruct);

  /*Configure GPIO pin : USB_VBUS_Pin */
  GPIO_InitStruct.Pin = USB_VBUS_Pin;
  GPIO_InitStruct.Mode = GPIO_MODE_INPUT;
  GPIO_InitStruct.Pull = GPIO_NOPULL;
  HAL_GPIO_Init(USB_VBUS_GPIO_Port, &GPIO_InitStruct);

}

/* USER CODE BEGIN 4 */

void log_message(const char *format, ...) {
	static uint8_t msg_id = 0;
	static Message_t msg;
	msg.id = msg_id++;

	va_list args;
	va_start(args, format);
	vsnprintf(msg.text, sizeof(msg.text), format, args);
	va_end(args);

	/* add your message processing and formatting here */
	osMessagePut(messageQueueHandle, (uint32_t)&msg, 0);
}

void ntp_send_request(void)
{
    ip_addr_t ntp_addr;

    ntp_pcb = udp_new();
    if (ntp_pcb == NULL) {
        log_message("NTP: udp_new failed\r\n");
        return;
    }

    udp_bind(ntp_pcb, IP_ADDR_ANY, 0);

    udp_recv(ntp_pcb, ntp_receive, NULL);

    memset(ntp_packet, 0, NTP_PACKET_LEN);
    ntp_packet[0] = 0x1B;

    ipaddr_aton(NTP_SERVER_IP, &ntp_addr);

    struct pbuf *p = pbuf_alloc(PBUF_TRANSPORT, NTP_PACKET_LEN, PBUF_RAM);
    if (p == NULL) {
        log_message("NTP: pbuf_alloc failed\r\n");
        udp_remove(ntp_pcb);
        return;
    }

    memcpy(p->payload, ntp_packet, NTP_PACKET_LEN);

    udp_sendto(ntp_pcb, p, &ntp_addr, NTP_PORT);
    pbuf_free(p);

    log_message("NTP request sent to %s\r\n", ipaddr_ntoa(&ntp_addr));
}

void ntp_receive(void *arg, struct udp_pcb *pcb,
                 struct pbuf *p, const ip_addr_t *addr, u16_t port)
{
    log_message("NTP response received from %s:%d\r\n",
                ipaddr_ntoa(addr), port);

    if (p->len >= 48) {
        uint32_t timestamp;
        memcpy(&timestamp, (uint8_t *)p->payload + 40, 4);
        timestamp = ntohl(timestamp) - NTP_TIMESTAMP_DELTA;

        time_t rawtime = timestamp;
        struct tm *timeinfo = gmtime(&rawtime);

        Set_RTC(
            timeinfo->tm_sec,
            timeinfo->tm_min,
            timeinfo->tm_hour+1,
            timeinfo->tm_wday,
            timeinfo->tm_mday,
            timeinfo->tm_mon + 1,
            timeinfo->tm_year - 100
        );

        is_synced = 1;
        log_message("RTC synced with NTP\r\n");
    }

    pbuf_free(p);
    udp_remove(pcb);   // OK pour one-shot
}

void HAL_ADC_ConvCpltCallback(ADC_HandleTypeDef *hadc){
    if (hadc == &hadc1){
        //BaseType_t xHigherPriorityTaskWoken = pdFALSE;
        osSemaphoreRelease(AdcEndOfConversionHandle);
    }
}

/* USER CODE BEGIN ApplicationHooks */

/* USER CODE BEGIN ApplicationHooks */

/* USER CODE END ApplicationHooks */

/* USER CODE END ApplicationHooks */

/* USER CODE END 4 */

void StartDefaultTask(void const * argument)
{
  /* init code for LWIP */
  MX_LWIP_Init();
  /* USER CODE BEGIN 5 */

  Init_FRAM();
  // If we want to clear the FRAM
  FRAM_ClearRange((uint32_t)256000, (uint32_t)(30*50));
  FRAM_ClearRange((uint32_t)130000, (uint32_t)(25*10));

  uint8_t State = 0;
  uint8_t prevBtn = 0;

  /* Infinite loop */
  for (;;)
  {
      uint8_t Vbtn = HAL_GPIO_ReadPin(USER_Btn_GPIO_Port, USER_Btn_Pin);
      if (Vbtn && !prevBtn)
      {
          if (!State)
          {
              osThreadResume(MainTaskHandle);
              osThreadResume(logMessageTaskHandle);
              osThreadResume(TCPClientTaskHandle);
              osThreadResume(TCPServerTaskHandle);
              osThreadResume(heartBeatTaskHandle);
              osThreadResume(AccelerometerTaskHandle);
              osThreadResume(PublishtoBroadcastTaskHandle);
              osThreadResume(UDPServerTaskHandle);
              State = 1;
          }
          else
          {
              osThreadSuspend(MainTaskHandle);
              osThreadSuspend(logMessageTaskHandle);
              osThreadSuspend(TCPClientTaskHandle);
              osThreadSuspend(TCPServerTaskHandle);
              osThreadSuspend(heartBeatTaskHandle);
              osThreadSuspend(AccelerometerTaskHandle);
              osThreadSuspend(PublishtoBroadcastTaskHandle);
              osThreadSuspend(UDPServerTaskHandle);
              State = 0;
          }

          osDelay(50);
      }

      prevBtn = Vbtn;
      osDelay(10);
  }
  /* USER CODE END 5 */
}

void LogMessageTask(void const * argument)
{
  /* USER CODE BEGIN LogMessageTask */
  /* Infinite loop */
  Message_t msg;
  for(;;){
	  osEvent evt = osMessageGet(messageQueueHandle, 200);
	  if (evt.status == osEventMessage){
		  msg = *(Message_t *)evt.value.p;
		  osMutexWait(uartMutexHandle, osWaitForever);
		  HAL_UART_Transmit(&huart3, (uint8_t *)&msg.text, strlen(msg.text), 10);
		  osMutexRelease(uartMutexHandle); //not necessary
	  }
    osDelay(200);
  }
  /* USER CODE END LogMessageTask */
}

void TCP_ClientTask(void const * argument)
{
  /* USER CODE BEGIN TCP_ClientTask */
	struct netconn *conn;
	err_t err;

	for(;;)
	{
		// Send to all the IP from the IP bank
		for (uint8_t i=0;i<Max_IP;i++){
			if (ip_addr_isany(&IP_Bank[i])){break;} // If the IP position 'i' is 000.000.000.000 (not set yet), ip_addr_isany return 1

			conn = netconn_new(NETCONN_TCP);
			if (conn != NULL) {
				err = netconn_connect(conn, &IP_Bank[i], PORT);

				if (err != ERR_OK) {log_message("[CLIENT] Send error: %d\r\n", err);}

				if (err == ERR_OK) {

					// Read_RTC(&seconds, &minutes, &hours, &day, &date, &month, &years);

					const char *status;
					if (HighestRecentValue.status == 0){status = "normal";}
					else{status = "secousse";}

					char json[512];
					snprintf(json, sizeof(json),
					         "{"
					           "\"type\": \"data\","
					           "\"id\": \"%s\","
					           "\"timestamp\": \"20%02d-%02d-%02dT%02d:%02d:%02dZ\","
					           "\"acceleration\": {"
					               "\"x\": %.3f,"
					               "\"y\": %.3f,"
					               "\"z\": %.3f"
					           "},"
					           "\"status\": \"%s\""
					         "}",
					         device_id,
							 HighestRecentValue.year,
							 HighestRecentValue.mon,
							 HighestRecentValue.mday,
							 HighestRecentValue.hour,
							 HighestRecentValue.min,
							 HighestRecentValue.sec,
							 HighestRecentValue.Value_x,
							 HighestRecentValue.Value_y,
							 HighestRecentValue.Value_z,
							 status
					);

					log_message("[CLIENT] Sending : %s...\r\n", json);
					netconn_write(conn, json, strlen(json), NETCONN_COPY);
					osDelay(3000);
				}
				else {log_message("[CLIENT] Could not reach server.\r\n");}
				netconn_close(conn);
				netconn_delete(conn);
			}
			else {log_message("[CLIENT] No connection available.\r\n");}
			osDelay(20);
		}
		osDelay(5000);

	}
  /* USER CODE END TCP_ClientTask */
}

void TCP_ServerTask(void const * argument)
{
  /* USER CODE BEGIN TCP_ServerTask */
	struct netconn *conn, *newconn;
	struct netbuf *buf;
	char *data;
	u16_t len;
	conn = netconn_new(NETCONN_TCP);
	netconn_bind(conn, IP_ADDR_ANY, PORT);
	netconn_listen(conn);
	netconn_set_recvtimeout(conn, 2000);
	/* Infinite loop inside task */
	for(;;) {

		if (netconn_accept(conn, &newconn) == ERR_OK) {

			if (netconn_recv(newconn, &buf) == ERR_OK) {
				netbuf_data(buf, (void**)&data, &len);

				    char rx_buffer[512];
				    if (len >= sizeof(rx_buffer)) len = sizeof(rx_buffer) - 1;
				    memcpy(rx_buffer, data, len);
				    rx_buffer[len] = '\0';

				    OtherDevice_t DeviceThatSent = {0};

				    // Extract all the data from the received buffer
				    extract_nucleoid(rx_buffer, &DeviceThatSent);
				    extract_timestamp(rx_buffer, &DeviceThatSent);
				    extract_acceleration(rx_buffer, &DeviceThatSent);
				    extract_status(rx_buffer, &DeviceThatSent);

				    // Store the structure (with an ID manager)
				    StoreExternDeviceInFRAM(&DeviceThatSent);

					netbuf_delete(buf);
				}
			else {
				log_message("[SERVER] No reception.\r\n");
			}
			netconn_close(newconn);
			netconn_delete(newconn);
		}
		else {/* no client connection at the moment*/ }
		osDelay(2000);
	}
  /* USER CODE END TCP_ServerTask */
}

void StartHeartBeatTask(void const * argument)
{
  /* USER CODE BEGIN StartHeartBeatTask */
  /* Infinite loop */
  for(;;)
  {
	  HAL_GPIO_TogglePin(GPIOB, LD2_Pin);
	  osDelay(500);
  }
  /* USER CODE END StartHeartBeatTask */
}

void vAccelerometerTask(void const * argument)
{
  /* USER CODE BEGIN vAccelerometerTask */

	uint16_t ConversionTable[300];

	HAL_TIM_Base_Start(&htim2);
	HAL_ADC_Start_DMA(&hadc1, ConversionTable, 300);

  /* Infinite loop */
  for(;;)
  {
	  // Wait till the semaphore is set by the interruption of the end of the conversion
	  osSemaphoreWait(AdcEndOfConversionHandle, osWaitForever);

		  /*	Reorganize the values from the DMA buffer in appropriate buffers		*/
	  uint16_t X[100], Y[100], Z[100];

	  for (int i=0;i<100;i++){
	      X[i] = ConversionTable[3*i];
	      Y[i] = ConversionTable[3*i+1];
	      Z[i] = ConversionTable[3*i+2];
	  }

	  /*	Moving average calculations		*/
	  static float MovingAverage_X[100], MovingAverage_Y[100], MovingAverage_Z[100];

	  // First we calculate the edges of the table (0 & 99)
	  MovingAverage_X[0] = (X[0] + X[1]) / 2;
	  MovingAverage_X[99] = (X[98] + X[99]) / 2;
	  MovingAverage_Y[0] = (Y[0] + Y[1]) / 2;
	  MovingAverage_Y[99] = (Y[98] + Y[99]) / 2;
	  MovingAverage_Z[0] = (Z[0] + Z[1]) / 2;
	  MovingAverage_Z[99] = (Z[98] + Z[99]) / 2;

	  for (int i=1;i<99;i++){
		  MovingAverage_X[i] = (X[i-1] + X[i] + X[i+1]) / 3.0f;
		  MovingAverage_Y[i] = (Y[i-1] + Y[i] + Y[i+1]) / 3.0f;
		  MovingAverage_Z[i] = (Z[i-1] + Z[i] + Z[i+1]) / 3.0f;
	  }

	  /*	Calculations of the RMS values		*/
	  float SumSquareX = 0, SumSquareY = 0, SumSquareZ = 0;

	  for (int i=0;i<100;i++){
		  SumSquareX += MovingAverage_X[i]*MovingAverage_X[i];
		  SumSquareY += MovingAverage_Y[i]*MovingAverage_Y[i];
		  SumSquareZ += MovingAverage_Z[i]*MovingAverage_Z[i];
	  }

	  LastProcessedValue.Value_x = sqrtf(SumSquareX / 100.0f);
	  LastProcessedValue.Value_y = sqrtf(SumSquareY / 100.0f);
	  LastProcessedValue.Value_z = sqrtf(SumSquareZ / 100.0f);

	  Read_RTC(&LastProcessedValue.sec, &LastProcessedValue.min, &LastProcessedValue.hour,
			  &day, &LastProcessedValue.mday, &LastProcessedValue.mon, &LastProcessedValue.year);

	  // NewValToProcess = 1;
	  osSemaphoreRelease(NewValToProcessHandle);

	  log_message("Accelerometre : %.3f ; %.3f ; %.3f    -    %d:%d:%d\r\n", LastProcessedValue.Value_x, LastProcessedValue.Value_y, LastProcessedValue.Value_z, LastProcessedValue.hour, LastProcessedValue.min, LastProcessedValue.sec);

  }
  /* USER CODE END vAccelerometerTask */
}

void PublishToBroadcastTask(void const * argument)
{
  /* USER CODE BEGIN PublishToBroadcastTask */
	struct udp_pcb *udp;
	struct pbuf *p;
	uint16_t len=0;
	ip_addr_t dest_ip;

	IP4_ADDR(&dest_ip, 192,168,1,255);

	log_message("Broadcast task started.\r\n");

	udp = udp_new();
	ip_set_option(udp, SOF_BROADCAST);
	printf("Flags netif: 0x%X\n", netif_default->flags);

	if (!udp) {
		log_message("UDP alloc failed!\r\n");
		vTaskDelete(NULL);
	}
	udp_bind(udp, IP_ADDR_ANY, 0);     // port source aléatoire

	/* Infinite loop */
	for(;;)
	{
		// Read the data from the RTC and stock to the adress of these global variables
		Read_RTC(&seconds, &minutes, &hours, &day, &date, &month, &years);

		char json_msg[256];

		len = snprintf(json_msg, sizeof(json_msg),
		    "{"
		    "\"type\": \"presence\","
		    "\"id\": \"%s\","
		    "\"ip\": \"%s\","
		    "\"timestamp\": \"20%02d-%02d-%02dT%02d:%02d:%02dZ\""
		    "}",
		    device_id,
		    my_ip,
		    years,
		    month,
		    date,
		    hours,
		    minutes,
		    seconds
		);

		p = pbuf_alloc(PBUF_TRANSPORT, len, PBUF_RAM);
		if (!p) continue;
		pbuf_take(p, json_msg, len);
		udp_sendto(udp, p, &dest_ip, PORT);

		pbuf_free(p);

		osDelay(10000);
	 }
  /* USER CODE END PublishToBroadcastTask */
}

void UDP_ServerTask(void const * argument)
{
  /* USER CODE BEGIN UDP_ServerTask */
	struct netconn *conn;
	    struct netbuf *buf;
	    char *data;
	    u16_t len;
	    err_t err;

	    conn = netconn_new(NETCONN_UDP);
	    if (conn == NULL)
	    {
	        log_message("[UDP SERVER] netconn_new failed\r\n");
	        vTaskDelete(NULL);
	    }

	    netconn_bind(conn, IP_ADDR_ANY, PORT);
	    netconn_set_recvtimeout(conn, 15000);

	    // log_message("[UDP SERVER] Broadcast listener started on port 5005\r\n");

	    for (;;)
	    {
	        err = netconn_recv(conn, &buf);

	        if (err == ERR_OK)
	        {
	            netbuf_data(buf, (void**)&data, &len);
	            data[len] = '\0';
	            ip_addr_t src_ip_copy = *netbuf_fromaddr(buf);		// Get the IP adress of the sender

	            // Check if the IP adress is already known
	            uint8_t AlreadyKnown = 0;
	            for (uint8_t i = 0; i < Max_IP; i++) {
	                if (!ip_addr_isany(&IP_Bank[i]) && ip_addr_cmp(&IP_Bank[i], &src_ip_copy)) {
	                	AlreadyKnown = 1;
	                	log_message("[UDP SERVER] Broadcast received, IP already known : %s", ipaddr_ntoa(&src_ip_copy));
	                    break;
	                }
	            }
	            // If not known, store it (need to put it after all the already stored IP adress
	            if (!AlreadyKnown) {
	                for (uint8_t i = 0; i < Max_IP; i++) {
	                    if (ip_addr_isany(&IP_Bank[i])) {
	                        IP_Bank[i] = src_ip_copy;
	                        log_message("[UDP SERVER] Broadcast received, IP memorized : %s", ipaddr_ntoa(&src_ip_copy));
	                        break;
	                    }
	                }
	            }

	            netbuf_delete(buf);
	        }
	        else if (err == ERR_TIMEOUT)
	        {
	        	log_message("[UDP SERVER] Timout error");

	        }
	        else
	        {
	            log_message("[UDP SERVER] Receive error: %d\r\n", err);
	        }

	        osDelay(100);
	    }
  /* USER CODE END UDP_ServerTask */
}

void vMainTask(void const * argument)
{
  /* USER CODE BEGIN vMainTask */
	Init_RTC();
	ntp_send_request();
	osDelay(10);

	float PreviousVal_x = 0.0f;
	float PreviousVal_y = 0.0f;
	float PreviousVal_z = 0.0f;

	const float ACC_THRESHOLD = 4.0f;	// Seuil de détection, augmenter si trop sensible

  /* Infinite loop */
	for (;;)
	    {
		osSemaphoreWait(NewValToProcessHandle, osWaitForever);
		/***********		Détection de secousse		****************/
		float dx = LastProcessedValue.Value_x - PreviousVal_x;
		float dy = LastProcessedValue.Value_y - PreviousVal_y;
		float dz = LastProcessedValue.Value_z - PreviousVal_z;
		if (fabsf(dx) > ACC_THRESHOLD || fabsf(dy) > ACC_THRESHOLD || fabsf(dz) > ACC_THRESHOLD)
		{
			// Put the state of the value as a "secousse"
			LastProcessedValue.status = 1;
			log_message("Detection locale !\r\n");
		}
		else{LastProcessedValue.status = 0;}
		PreviousVal_x = LastProcessedValue.Value_x;
		PreviousVal_y = LastProcessedValue.Value_y;
		PreviousVal_z = LastProcessedValue.Value_z;

		/***********		If there is a lower value in the FRAM, replace it with the new one		****************/
		if (UpdateFRAMIfHigherValue(&LastProcessedValue, &HighestRecentValue)){}

		/***********		Check the other device value state in the FRAM to make an alert of shake or not		****************/

		if (CheckShakeCorrelationInFRAM(&HighestRecentValue) || CheckShakeCorrelationInFRAM(&LastProcessedValue)){
			// Use the semaphore to activate the LED
			HAL_GPIO_WritePin(GPIOB, LD3_Pin, GPIO_PIN_SET);
		}
		else {HAL_GPIO_WritePin(GPIOB, LD3_Pin, GPIO_PIN_RESET);}
	    }
  /* USER CODE END vMainTask */
}

void HAL_TIM_PeriodElapsedCallback(TIM_HandleTypeDef *htim)
{
  if (htim->Instance == TIM1)
  {
    HAL_IncTick();
  }
}

void Error_Handler(void)
{
  __disable_irq();
  while (1)
  {
  }
}
